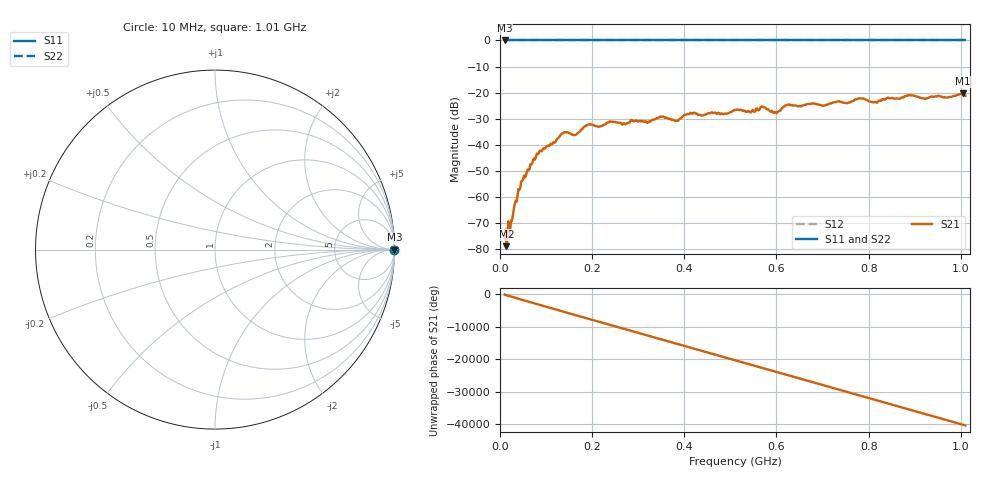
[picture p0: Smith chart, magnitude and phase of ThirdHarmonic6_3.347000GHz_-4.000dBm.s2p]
! 8/17/2025 10:33:12 AM
! C:\ANRITSUVNA\TEMP\TEMP.S2P
! CHANNEL.1
! TR.MEASUREMENT
! RAW.DATA
! RF.CORRECTION.OFF
! AVERAGING.OFF
! IF.BANDWIDTH: 5KHZ
! SWEEPTYPE:  FREQ.SWEEP(Linear)
! Reference Plane Port Info
! PORT:  PORT1  PORT2
! DISTANCE:  0  m  0  m
! TIME:  0  s  0  s
! PHASE.OFFSET:  0  deg.  0  deg.
! LOSS:  0  dB  0  dB
! REF.LOSS:  0  dB  0  dB
! REF.FREQ:  0  Hz  0  Hz
! Power Info
! POWER:  -20  dBm  -20  dBm
! EFF.POWER:  -20  dBm  -20  dBm
! SOURCE.ATTEN:  0  dB  0  dB
! TEST.ATTEN:  0  dB  0  dB
# GHZ S RI R 50.0
! FREQ.GHZ  S11RE  S11IM  S21RE  S21IM  S12RE  S12IM  S22RE  S22IM
!; PortSelection: Port_12
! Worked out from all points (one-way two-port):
!   501 points, 10 MHz to 1.01 GHz, reference 50 ohm
!   highest |S21| = -20.29 dB at 1.004 GHz (marker M1); lowest = -78.8 dB at 14 MHz (marker M2)
!   lowest |S11| = 0.0 dB at 10 MHz (marker M3)
!   |S11| at or under -10 dB: nowhere
!   |S22| runs from 0.0 to 0.0 dB; largest |S21 - S12| = 1.1
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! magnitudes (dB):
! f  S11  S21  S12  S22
! 10 MHz  0.0  -76.2  0.0  0.0
! 14 MHz  0.0  -78.8  0.0  0.0
! 18 MHz  0.0  -69.3  0.0  0.0
! 36 MHz  0.0  -61.8  0.0  0.0
! 48 MHz  0.0  -53.8  0.0  0.0
! 82 MHz  0.0  -43.5  0.0  0.0
! 136 MHz  0.0  -35.6  0.0  0.0
! 162 MHz  0.0  -36.3  0.0  0.0
! 178 MHz  0.0  -33.9  0.0  0.0
! 194 MHz  0.0  -32.2  0.0  0.0
! 322 MHz  0.0  -31.3  0.0  0.0
! 344 MHz  0.0  -29.6  0.0  0.0
! 384 MHz  0.0  -30.7  0.0  0.0
! 416 MHz  0.0  -28.0  0.0  0.0
! 510 MHz  0.0  -26.6  0.0  0.0
! 570 MHz  0.0  -25.4  0.0  0.0
! 598 MHz  0.0  -27.5  0.0  0.0
! 624 MHz  0.0  -24.7  0.0  0.0
! 678 MHz  0.0  -24.2  0.0  0.0
! 844 MHz  0.0  -22.1  0.0  0.0
! 1.004 GHz  0.0  -20.3  0.0  0.0
! 1.01 GHz  0.0  -21.2  0.0  0.0
